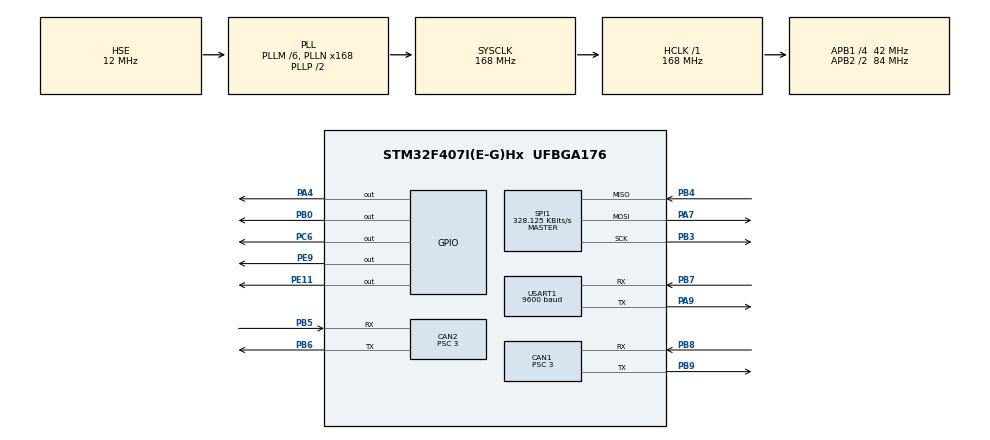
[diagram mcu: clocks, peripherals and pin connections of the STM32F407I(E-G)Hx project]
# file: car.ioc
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CAN1.BS1=CAN_BS1_10TQ
CAN1.BS2=CAN_BS2_3TQ
CAN1.CalculateBaudRate=1000000
CAN1.CalculateTimeBit=1000
CAN1.CalculateTimeQuantum=71.42857142857143
CAN1.Prescaler=3
CAN2.BS1=CAN_BS1_10TQ
CAN2.BS2=CAN_BS2_3TQ
CAN2.CalculateBaudRate=1000000
CAN2.CalculateTimeBit=1000
CAN2.CalculateTimeQuantum=71.42857142857143
CAN2.Prescaler=3
FREERTOS.Tasks01=defaultTask,0,128,StartDefaultTask,Default,NULL,Dynamic,NULL,NULL;proc_imu,-3,128,Start_proc_imu,Default,NULL,Dynamic,NULL,NULL;base_ctrl,-3,128,Start_base_ctrl,Default,NULL,Dynamic,NULL,NULL;lora_receive,-3,128,Start_lora_receive,Default,NULL,Dynamic,NULL,NULL
FREERTOS.configUSE_NEWLIB_REENTRANT=0
Mcu.Family=STM32F4
Mcu.Name=STM32F407I(E-G)Hx
Mcu.Package=UFBGA176
NVIC.CAN1_RX0_IRQn=true\:5\:0\:false\:false\:true\:true\:true\:true\:true
NVIC.CAN1_RX1_IRQn=true\:5\:0\:false\:false\:true\:true\:true\:true\:true
NVIC.CAN1_SCE_IRQn=true\:5\:0\:false\:false\:true\:true\:true\:true\:true
NVIC.CAN1_TX_IRQn=true\:5\:0\:false\:false\:true\:true\:true\:true\:true
NVIC.CAN2_RX0_IRQn=true\:5\:0\:true\:false\:true\:true\:true\:true\:true
NVIC.CAN2_RX1_IRQn=true\:5\:0\:false\:false\:true\:true\:true\:true\:true
NVIC.CAN2_SCE_IRQn=true\:5\:0\:false\:false\:true\:true\:true\:true\:true
NVIC.CAN2_TX_IRQn=true\:5\:0\:false\:false\:true\:true\:true\:true\:true
NVIC.PriorityGroup=NVIC_PRIORITYGROUP_4
NVIC.USART1_IRQn=true\:5\:0\:false\:false\:true\:true\:true\:true\:true
PA13.Mode=Serial_Wire
PA13.Signal=SYS_JTMS-SWDIO
PA14.Mode=Serial_Wire
PA14.Signal=SYS_JTCK-SWCLK
PA4.Signal=GPIO_Output
PA7.Mode=Full_Duplex_Master
PA7.Signal=SPI1_MOSI
PA9.Mode=Asynchronous
PA9.Signal=USART1_TX
PB0.Signal=GPIO_Output
PB3.Mode=Full_Duplex_Master
PB3.Signal=SPI1_SCK
PB4.Mode=Full_Duplex_Master
PB4.Signal=SPI1_MISO
PB5.Mode=CAN_Activate
PB5.Signal=CAN2_RX
PB6.Mode=CAN_Activate
PB6.Signal=CAN2_TX
PB7.Mode=Asynchronous
PB7.Signal=USART1_RX
PB8.Mode=CAN_Activate
PB8.Signal=CAN1_RX
PB9.Mode=CAN_Activate
PB9.Signal=CAN1_TX
PC6.GPIO_PuPd=GPIO_PULLUP
PC6.PinState=GPIO_PIN_SET
PC6.Signal=GPIO_Output
PE11.GPIO_PuPd=GPIO_PULLUP
PE11.PinState=GPIO_PIN_SET
PE11.Signal=GPIO_Output
PE9.GPIO_PuPd=GPIO_PULLUP
PE9.PinState=GPIO_PIN_SET
PE9.Signal=GPIO_Output
PH0-OSC_IN.Mode=HSE-External-Oscillator
PH0-OSC_IN.Signal=RCC_OSC_IN
PH1-OSC_OUT.Mode=HSE-External-Oscillator
PH1-OSC_OUT.Signal=RCC_OSC_OUT
ProjectManager.HeapSize=0x200
ProjectManager.StackSize=0x400
ProjectManager.TargetToolchain=STM32CubeIDE
RCC.48MHZClocksFreq_Value=84000000
RCC.AHBFreq_Value=168000000
RCC.APB1CLKDivider=RCC_HCLK_DIV4
RCC.APB1Freq_Value=42000000
RCC.APB1TimFreq_Value=84000000
RCC.APB2CLKDivider=RCC_HCLK_DIV2
RCC.APB2Freq_Value=84000000
RCC.APB2TimFreq_Value=168000000
RCC.CortexFreq_Value=168000000
RCC.HCLKFreq_Value=168000000
RCC.HSE_VALUE=12000000
RCC.HSI_VALUE=16000000
RCC.LSE_VALUE=32768
RCC.PLLM=6
RCC.PLLN=168
RCC.PLLSourceVirtual=RCC_PLLSOURCE_HSE
RCC.SYSCLKFreq_VALUE=168000000
RCC.SYSCLKSource=RCC_SYSCLKSOURCE_PLLCLK
RCC.VCOOutputFreq_Value=336000000
SPI1.BaudRatePrescaler=SPI_BAUDRATEPRESCALER_256
SPI1.CLKPhase=SPI_PHASE_2EDGE
SPI1.CLKPolarity=SPI_POLARITY_HIGH
SPI1.CalculateBaudRate=328.125 KBits/s
SPI1.Direction=SPI_DIRECTION_2LINES
SPI1.Mode=SPI_MODE_MASTER
SPI1.VirtualType=VM_MASTER
USART1.BaudRate=9600
USART1.VirtualMode=VM_ASYNC
VP_FREERTOS_VS_CMSIS_V1.Mode=CMSIS_V1
board=custom

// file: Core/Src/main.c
/* USER CODE BEGIN Header */
/**
  ******************************************************************************
  * @file           : main.c
  * @brief          : Main program body
  ******************************************************************************
  * @attention
  *
  * Copyright (c) 2024 STMicroelectronics.
  * All rights reserved.
  *
  * This software is licensed under terms that can be found in the LICENSE file
  * in the root directory of this software component.
  * If no LICENSE file comes with this software, it is provided AS-IS.
  *
  ******************************************************************************
  */
/* USER CODE END Header */
#include "main.h"
#include "cmsis_os.h"
#include "can.h"
#include "spi.h"
#include "usart.h"
#include "gpio.h"

/* USER CODE BEGIN Includes */
#include "bsp_can.h"
#include "CAN_receive.h"
#include "BMI088driver.h"
#include <string.h>
#include <MahonyAHRS.h>
#include "pid.h"
/* USER CODE END Includes */

/* USER CODE BEGIN PV */
float gyro[3], accel[3], temp;
int16_t volacity_out, vertical_out, turn_out, Al_out, Motor_1, Motor_2, Can_out[4];
float pitch, roll, yaw;
PID vel_pid, ver_pid, turn_pid;
int16_t target_speed, ture_speed, target_turn, gyro_x, gyro_y, gyro_z;
int8_t stop;
unsigned char rx_data[8];

/* USER CODE END PV */

void SystemClock_Config(void);
void MX_FREERTOS_Init(void);

int main(void)
{

  /* MCU Configuration--------------------------------------------------------*/

  /* Reset of all peripherals, Initializes the Flash interface and the Systick. */
  HAL_Init();

  /* Configure the system clock */
  SystemClock_Config();

  /* Initialize all configured peripherals */
  MX_GPIO_Init();
  MX_CAN2_Init();
  MX_USART1_UART_Init();
  MX_SPI1_Init();
  MX_CAN1_Init();
  /* USER CODE BEGIN 2 */
  can_filter_init();

  while(BMI088_init());

  /* USER CODE END 2 */

  /* Call init function for freertos objects (in cmsis_os2.c) */
  MX_FREERTOS_Init();

  /* Start scheduler */
  osKernelStart();

  /* We should never get here as control is now taken by the scheduler */

  /* Infinite loop */
  /* USER CODE BEGIN WHILE */
  while (1)
  {

    HAL_Delay(1);

    /* USER CODE END WHILE */

  }
}

void SystemClock_Config(void)
{
  RCC_OscInitTypeDef RCC_OscInitStruct = {0};
  RCC_ClkInitTypeDef RCC_ClkInitStruct = {0};

  /** Configure the main internal regulator output voltage
  */
  __HAL_RCC_PWR_CLK_ENABLE();
  __HAL_PWR_VOLTAGESCALING_CONFIG(PWR_REGULATOR_VOLTAGE_SCALE1);

  /** Initializes the RCC Oscillators according to the specified parameters
  * in the RCC_OscInitTypeDef structure.
  */
  RCC_OscInitStruct.OscillatorType = RCC_OSCILLATORTYPE_HSE;
  RCC_OscInitStruct.HSEState = RCC_HSE_ON;
  RCC_OscInitStruct.PLL.PLLState = RCC_PLL_ON;
  RCC_OscInitStruct.PLL.PLLSource = RCC_PLLSOURCE_HSE;
  RCC_OscInitStruct.PLL.PLLM = 6;
  RCC_OscInitStruct.PLL.PLLN = 168;
  RCC_OscInitStruct.PLL.PLLP = RCC_PLLP_DIV2;
  RCC_OscInitStruct.PLL.PLLQ = 4;
  if (HAL_RCC_OscConfig(&RCC_OscInitStruct) != HAL_OK)
  {
    Error_Handler();
  }

  /** Initializes the CPU, AHB and APB buses clocks
  */
  RCC_ClkInitStruct.ClockType = RCC_CLOCKTYPE_HCLK|RCC_CLOCKTYPE_SYSCLK
                              |RCC_CLOCKTYPE_PCLK1|RCC_CLOCKTYPE_PCLK2;
  RCC_ClkInitStruct.SYSCLKSource = RCC_SYSCLKSOURCE_PLLCLK;
  RCC_ClkInitStruct.AHBCLKDivider = RCC_SYSCLK_DIV1;
  RCC_ClkInitStruct.APB1CLKDivider = RCC_HCLK_DIV4;
  RCC_ClkInitStruct.APB2CLKDivider = RCC_HCLK_DIV2;

  if (HAL_RCC_ClockConfig(&RCC_ClkInitStruct, FLASH_LATENCY_5) != HAL_OK)
  {
    Error_Handler();
  }
}

void Error_Handler(void)
{
  __disable_irq();
  while (1)
  {
  }
}

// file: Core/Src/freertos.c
/* USER CODE BEGIN Header */
/**
  ******************************************************************************
  * File Name          : freertos.c
  * Description        : Code for freertos applications
  ******************************************************************************
  * @attention
  *
  * Copyright (c) 2024 STMicroelectronics.
  * All rights reserved.
  *
  * This software is licensed under terms that can be found in the LICENSE file
  * in the root directory of this software component.
  * If no LICENSE file comes with this software, it is provided AS-IS.
  *
  ******************************************************************************
  */
/* USER CODE END Header */

#include "FreeRTOS.h"
#include "task.h"
#include "main.h"
#include "cmsis_os.h"

/* USER CODE BEGIN Includes */
#include <BMI088driver.h>
#include "MahonyAHRS.h"
#include "bsp_can.h"
#include "CAN_receive.h"
#include "pid.h"
#include "usart.h"
/* USER CODE END Includes */

/* USER CODE BEGIN Variables */
//typedef struct {
//    float Kp;
//    float Ki;
//    float Kd;
//    float last_error;
//    float integral;
//} PID;
char receive;
int it_state = 0;
const float default_speed = 25;
/* USER CODE END Variables */
osThreadId defaultTaskHandle;
osThreadId proc_imuHandle;
osThreadId base_ctrlHandle;
osThreadId lora_receiveHandle;

/* USER CODE BEGIN FunctionPrototypes */

void HAL_UART_RxCpltCallback(UART_HandleTypeDef *huart) {
  if (!it_state) {
    it_state = 1;
    HAL_UART_Receive_IT(&huart1, &receive, 8);
  }
}

/* USER CODE END FunctionPrototypes */

void StartDefaultTask(void const *argument);

void Start_proc_imu(void const *argument);

void Start_base_ctrl(void const *argument);

void Start_lora_receive(void const *argument);

void MX_FREERTOS_Init(void); /* (MISRA C 2004 rule 8.1) */

/* GetIdleTaskMemory prototype (linked to static allocation support) */
void vApplicationGetIdleTaskMemory(StaticTask_t **ppxIdleTaskTCBBuffer, StackType_t **ppxIdleTaskStackBuffer,
                                   uint32_t *pulIdleTaskStackSize);

/* USER CODE BEGIN GET_IDLE_TASK_MEMORY */
static StaticTask_t xIdleTaskTCBBuffer;
static StackType_t xIdleStack[configMINIMAL_STACK_SIZE];

void vApplicationGetIdleTaskMemory(StaticTask_t **ppxIdleTaskTCBBuffer, StackType_t **ppxIdleTaskStackBuffer,
                                   uint32_t *pulIdleTaskStackSize) {
  *ppxIdleTaskTCBBuffer = &xIdleTaskTCBBuffer;
  *ppxIdleTaskStackBuffer = &xIdleStack[0];
  *pulIdleTaskStackSize = configMINIMAL_STACK_SIZE;
  /* place for user code */
}
/* USER CODE END GET_IDLE_TASK_MEMORY */

void MX_FREERTOS_Init(void) {

  /* Create the thread(s) */
  /* definition and creation of defaultTask */
  osThreadDef(defaultTask, StartDefaultTask, osPriorityNormal, 0, 128);
  defaultTaskHandle = osThreadCreate(osThread(defaultTask), NULL);

  /* definition and creation of proc_imu */
  osThreadDef(proc_imu, Start_proc_imu, osPriorityIdle, 0, 128);
  proc_imuHandle = osThreadCreate(osThread(proc_imu), NULL);

  /* definition and creation of base_ctrl */
  osThreadDef(base_ctrl, Start_base_ctrl, osPriorityIdle, 0, 128);
  base_ctrlHandle = osThreadCreate(osThread(base_ctrl), NULL);

  /* definition and creation of lora_receive */
  osThreadDef(lora_receive, Start_lora_receive, osPriorityIdle, 0, 128);
  lora_receiveHandle = osThreadCreate(osThread(lora_receive), NULL);

}

void StartDefaultTask(void const *argument) {
  for (;;) {
    osDelay(1);
  }
}

void Start_proc_imu(void const *argument) {
  /* USER CODE BEGIN Start_proc_imu */
  /* Infinite loop */

  for (;;) {
    BMI088_read(gyro, accel, &temp);
    MahonyAHRSupdateIMU(gyro[0], gyro[1], gyro[2], accel[0], accel[1], accel[2]);
    get_angle(&yaw, &pitch, &roll);
    osDelay(1);
  }
  /* USER CODE END Start_proc_imu */
}

void Start_base_ctrl(void const *argument) {
  /* USER CODE BEGIN Start_base_ctrl */
  /* Infinite loop */

  // 直立
  float ver_kp = 80;
  float ver_kd = 300;
  // 速度
  float vel_kp = -0.310;

  float vel_ki = vel_kp / 100;

//  pid_Init(&vel_pid, 0, 0, 0, 0);
//  pid_Init(&ver_pid, 0, 0, 0, 0);
  pid_Init(&vel_pid, vel_kp, vel_ki, 0, 0);  // 速度环初始化 14 0.07
  pid_Init(&ver_pid, ver_kp, 0, ver_kd, 0);  //  直立环初始化 78 72
  pid_Init(&turn_pid, -10, 0, -70, 0);  //  转向环初始化

  target_speed = 0;
  target_turn = 0;

  HAL_UART_Receive_IT(&huart1, &receive, 8);
  for (;;) {
    if (it_state) {
      if (receive == 'w') {
        target_speed = -default_speed;
      } else if (receive == 's') {
        target_speed = default_speed;
      } else if (receive == 'a') {
        target_turn = -50;
      } else if (receive == 'd') {
        target_turn = 50;
      } else if (receive == 'q') {
        target_speed = 0;
        target_turn = 0;
      } else if (receive == 'p') {
        target_speed = 0;
        target_turn = 0;
        stop = 1;
        vTaskSuspend(NULL);
      }
      it_state = 0;
    }

    gyro_x = gyro[0];
    gyro_y = gyro[1];
    gyro_z = gyro[2];
    contral(&volacity_out, &vertical_out, &turn_out);
    Al_out = vertical_out;
    Motor_1 = Al_out + turn_out;
    Motor_2 = Al_out - turn_out;
    Motor_1 > 2000 ? 2000 : (Motor_1 < (-2000) ? (-2000) : Motor_1);
    Motor_2 > 2000 ? 2000 : (Motor_2 < (-2000) ? (-2000) : Motor_2);
    if (Motor_1 < 0) {
      Can_out[1] = 0;
      Can_out[0] = -Motor_1;
    } else {
      Can_out[1] = Motor_1;
      Can_out[0] = 0;
    }
    if (Motor_2 < 0) {
      Can_out[3] = -Motor_2;
      Can_out[2] = 0;
    } else {
      Can_out[3] = 0;
      Can_out[2] = Motor_2;
    }
    if (!stop){
      CAN_cmd_chassis(Can_out[0], Can_out[1], Can_out[2], Can_out[3]);
    }

    osDelay(10);
  }
  /* USER CODE END Start_base_ctrl */
}

void Start_lora_receive(void const *argument) {
  for (;;) {
    osDelay(1);
  }
}
